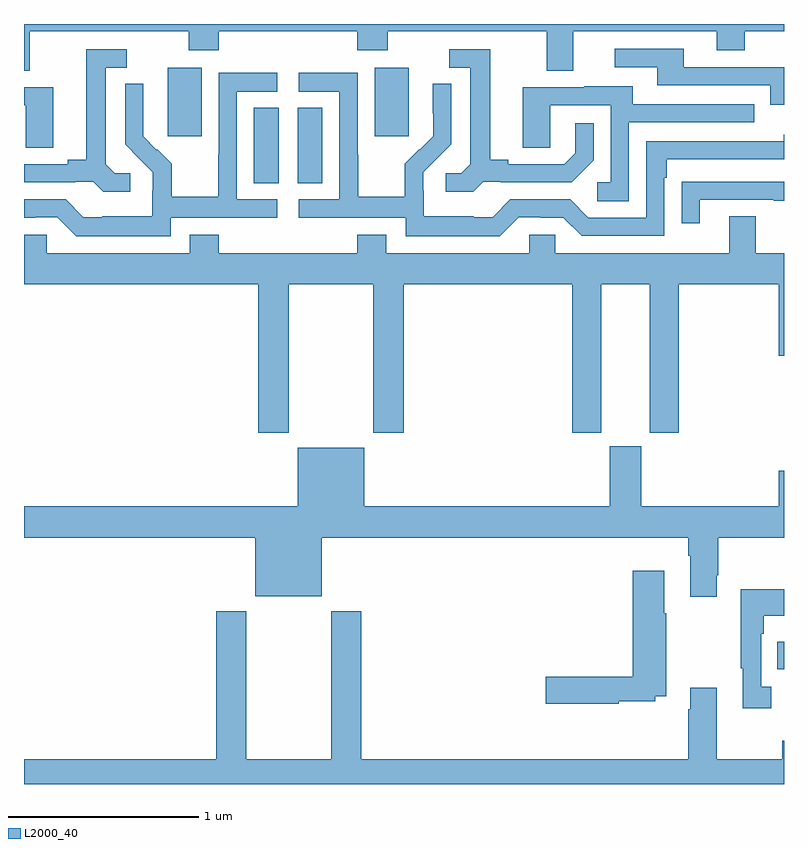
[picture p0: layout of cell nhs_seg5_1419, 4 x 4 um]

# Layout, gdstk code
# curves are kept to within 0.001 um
import gdstk
lib = gdstk.Library(unit=1e-6, precision=1e-09)
def R(c, l, rs):  # rectangles x0, y0, x1, y1
    for r in rs: c.add(gdstk.rectangle(r[:2], r[2:], *l))
def P(c, l, *ps):  # polygons
    for p in ps: c.add(gdstk.Polygon(p, *l))
L2000_40 = (2000, 40)

nhs_seg5_1419 = lib.new_cell('nhs_seg5_1419')
R(nhs_seg5_1419, L2000_40, [(200.965,853.402,201,853.549), (198.209,855.961,198.34,856.358), (198.44,855.961,198.571,856.358), (197.756,856.209,197.935,856.57), (198.845,856.209,199.024,856.57)])
P(nhs_seg5_1419, L2000_40, [(197.029,856.76),(197.866,856.76),(197.866,856.661),(198.026,856.661),(198.026,856.76),(198.755,856.76),(198.755,856.661),(198.915,856.661),(198.915,856.76),(199.751,856.76),(199.751,856.552),(199.891,856.552),(199.891,856.76),(200.645,856.76),(200.645,856.661),(200.793,856.661),(200.793,856.76),(201,856.76),(201,856.799),(197,856.799),(197,856.552),(197.029,856.552)],
  [(201,856.572),(200.473,856.572),(200.473,856.668),(200.109,856.668),(200.109,856.572),(200.333,856.572),(200.333,856.476),(200.928,856.476),(200.928,856.373),(201,856.373)],
  [(199.416,855.969),(199.51,855.969),(199.51,855.966),(199.882,855.966),(199.998,856.082),(199.998,856.276),(199.901,856.276),(199.901,856.119),(199.844,856.062),(199.549,856.062),(199.549,856.085),(199.453,856.085),(199.453,856.665),(199.239,856.665),(199.239,856.569),(199.349,856.569),(199.349,856.061),(199.302,856.014),(199.221,856.014),(199.221,855.917),(199.364,855.917)],
  [(197.56,856.014),(197.478,856.014),(197.431,856.061),(197.431,856.569),(197.542,856.569),(197.542,856.665),(197.327,856.665),(197.327,856.085),(197.231,856.085),(197.231,856.062),(197,856.062),(197,855.966),(197.27,855.966),(197.27,855.969),(197.364,855.969),(197.416,855.917),(197.56,855.917)],
  [(199.605,855.783),(199.721,855.783),(199.721,855.78),(199.839,855.78),(199.935,855.684),(200.37,855.684),(200.37,855.989),(200.383,855.989),(200.383,856.086),(201,856.086),(201,856.216),(200.999,856.182),(200.274,856.182),(200.274,855.78),(199.971,855.78),(199.875,855.876),(199.56,855.876),(199.467,855.783),(199.367,855.783),(199.367,855.787),(199.104,855.787),(199.104,855.921),(199.102,855.921),(199.102,856.018),(199.248,856.166),(199.248,856.484),(199.152,856.484),(199.152,856.33),(199.154,856.33),(199.154,856.208),(199.083,856.137),(199.08,856.14),(199.003,856.063),(199.003,855.889),(198.759,855.889),(198.759,856.112),(198.756,856.112),(198.756,856.542),(198.447,856.542),(198.447,856.443),(198.66,856.443),(198.66,855.876),(198.447,855.876),(198.447,855.78),(199.008,855.78),(199.008,855.683),(199.505,855.683)],
  [(197.772,855.78),(198.334,855.78),(198.334,855.876),(198.12,855.876),(198.12,856.443),(198.334,856.443),(198.334,856.542),(198.024,856.542),(198.024,856.112),(198.022,856.112),(198.022,855.889),(197.777,855.889),(197.777,856.063),(197.7,856.14),(197.697,856.137),(197.627,856.208),(197.628,856.484),(197.532,856.484),(197.532,856.166),(197.678,856.018),(197.678,855.921),(197.676,855.921),(197.676,855.787),(197.413,855.787),(197.413,855.783),(197.313,855.783),(197.22,855.876),(197,855.876),(197,855.78),(197.06,855.78),(197.06,855.783),(197.175,855.783),(197.275,855.683),(197.772,855.683)],
  [(200.184,856.281),(200.843,856.281),(200.843,856.377),(200.203,856.377),(200.203,856.471),(199.949,856.471),(199.949,856.467),(199.625,856.467),(199.625,856.147),(199.77,856.147),(199.77,856.371),(200.088,856.371),(200.088,855.966),(200.016,855.966),(200.016,855.865),(200.184,855.865)],
  [(197.155,856.467),(197,856.467),(197,856.371),(197.01,856.371),(197.01,856.147),(197.155,856.147)],
  [(200.557,855.873),(200.947,855.873),(200.947,855.868),(201,855.868),(201,855.969),(200.563,855.969),(200.563,855.968),(200.461,855.968),(200.461,855.75),(200.557,855.75)],
  [(198.393,855.428),(198.838,855.428),(198.838,854.649),(198.998,854.649),(198.998,855.428),(199.886,855.428),(199.886,854.649),(200.038,854.649),(200.038,855.428),(200.294,855.428),(200.294,854.649),(200.447,854.649),(200.447,855.428),(200.972,855.428),(200.972,855.054),(201,855.054),(201,855.592),(200.851,855.592),(200.851,855.787),(200.711,855.787),(200.711,855.592),(199.797,855.592),(199.797,855.69),(199.659,855.69),(199.659,855.592),(198.907,855.592),(198.907,855.691),(198.755,855.691),(198.755,855.592),(198.026,855.592),(198.026,855.691),(197.873,855.691),(197.873,855.592),(197.121,855.592),(197.121,855.69),(197,855.69),(197,855.428),(198.233,855.428),(198.233,854.649),(198.393,854.649)],
  [(200.647,853.897),(200.655,853.897),(200.655,854.096),(201,854.096),(201,854.449),(200.972,854.449),(200.972,854.26),(200.248,854.26),(200.248,854.577),(200.084,854.577),(200.084,854.26),(198.79,854.26),(198.79,854.569),(198.44,854.569),(198.44,854.26),(197,854.26),(197,854.096),(198.218,854.096),(198.218,853.787),(198.568,853.787),(198.568,854.096),(200.495,854.096),(200.495,854),(200.507,854),(200.507,853.785),(200.647,853.785)],
  [(200.13,853.234),(200.322,853.234),(200.322,853.262),(200.379,853.262),(200.379,853.697),(200.371,853.697),(200.371,853.921),(200.204,853.921),(200.204,853.364),(199.746,853.364),(199.746,853.222),(200.13,853.222)],
  [(200.932,853.31),(200.88,853.31),(200.88,853.589),(200.893,853.589),(200.893,853.685),(201,853.685),(201,853.825),(200.772,853.825),(200.772,853.409),(200.783,853.409),(200.783,853.197),(200.932,853.197)],
  [(201,853.027),(200.992,853.027),(200.992,852.928),(200.647,852.928),(200.647,853.306),(200.507,853.306),(200.507,853.193),(200.495,853.193),(200.495,852.928),(198.776,852.928),(198.776,853.708),(198.616,853.708),(198.616,852.928),(198.171,852.928),(198.171,853.708),(198.011,853.708),(198.011,852.928),(197,852.928),(197,852.799),(201,852.799)])

lib.write_gds('nhs_seg5_1419.gds')
